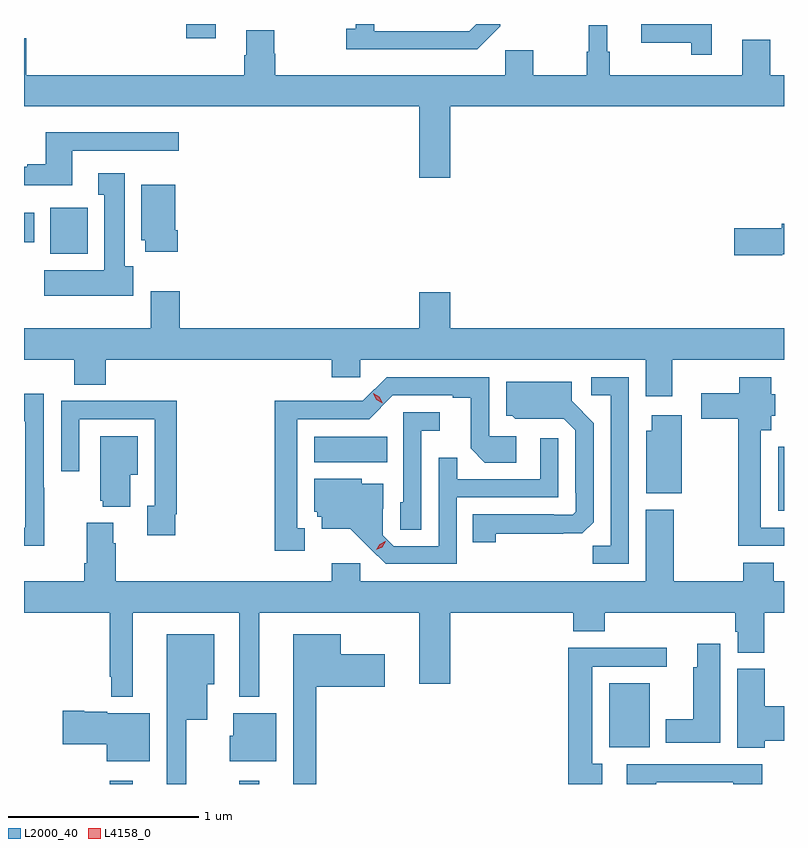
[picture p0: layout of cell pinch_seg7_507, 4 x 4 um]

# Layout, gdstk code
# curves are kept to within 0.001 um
import gdstk
lib = gdstk.Library(unit=1e-6, precision=1e-09)
def R(c, l, rs):  # rectangles x0, y0, x1, y1
    for r in rs: c.add(gdstk.rectangle(r[:2], r[2:], *l))
def P(c, l, *ps):  # polygons
    for p in ps: c.add(gdstk.Polygon(p, *l))
L2000_40 = (2000, 40)
L4158_0 = (4158, 0)

pinch_seg7_507 = lib.new_cell('pinch_seg7_507')
R(pinch_seg7_507, L2000_40, [(127.416,1059.654,127.537,1059.67), (128.097,1059.654,128.203,1059.67), (130.046,1059.848,130.258,1060.183), (130.934,1061.093,130.965,1061.428), (128.492,1061.348,128.876,1061.482), (127.103,1062.446,127.3,1062.688), (126.965,1062.505,127.018,1062.661), (127.819,1063.578,127.975,1063.654)])
P(pinch_seg7_507, L2000_40, [(129.471,1063.641),(129.471,1063.654),(129.346,1063.654),(129.309,1063.617),(128.809,1063.617),(128.809,1063.654),(128.712,1063.654),(128.712,1063.63),(128.661,1063.63),(128.661,1063.52),(129.35,1063.52)],
  [(130.585,1063.654),(130.214,1063.654),(130.214,1063.556),(130.476,1063.556),(130.476,1063.491),(130.585,1063.491)],
  [(129.208,1063.22),(130.965,1063.22),(130.965,1063.384),(130.893,1063.384),(130.893,1063.572),(130.745,1063.572),(130.745,1063.384),(130.048,1063.384),(130.048,1063.508),(130.036,1063.508),(130.036,1063.648),(129.937,1063.648),(129.937,1063.508),(129.927,1063.508),(129.927,1063.384),(129.645,1063.384),(129.645,1063.516),(129.498,1063.516),(129.498,1063.384),(128.288,1063.384),(128.288,1063.497),(128.283,1063.497),(128.283,1063.622),(128.135,1063.622),(128.135,1063.49),(128.123,1063.49),(128.123,1063.384),(126.977,1063.384),(126.977,1063.579),(126.965,1063.579),(126.965,1063.22),(129.044,1063.22),(129.044,1062.846),(129.208,1062.846)],
  [(127.219,1062.987),(127.78,1062.987),(127.78,1063.084),(127.079,1063.084),(127.079,1062.916),(126.983,1062.916),(126.983,1062.903),(126.965,1062.903),(126.965,1062.806),(127.219,1062.806)],
  [(127.54,1062.378),(127.495,1062.378),(127.495,1062.868),(127.355,1062.868),(127.355,1062.755),(127.388,1062.755),(127.388,1062.358),(127.071,1062.358),(127.071,1062.224),(127.54,1062.224)],
  [(127.775,1062.568),(127.762,1062.568),(127.762,1062.808),(127.583,1062.808),(127.583,1062.516),(127.604,1062.516),(127.604,1062.456),(127.775,1062.456)],
  [(130.956,1062.443),(130.965,1062.443),(130.965,1062.604),(130.952,1062.604),(130.952,1062.578),(130.704,1062.578),(130.704,1062.436),(130.956,1062.436)],
  [(130.378,1061.888),(130.965,1061.888),(130.965,1062.052),(129.208,1062.052),(129.208,1062.241),(129.044,1062.241),(129.044,1062.052),(127.784,1062.052),(127.784,1062.247),(127.631,1062.247),(127.631,1062.052),(126.965,1062.052),(126.965,1061.888),(127.229,1061.888),(127.229,1061.755),(127.394,1061.755),(127.394,1061.888),(128.585,1061.888),(128.585,1061.795),(128.736,1061.795),(128.736,1061.888),(130.238,1061.888),(130.238,1061.694),(130.378,1061.694)],
  [(130.149,1061.796),(129.951,1061.796),(129.951,1061.7),(130.053,1061.7),(130.053,1060.907),(129.958,1060.907),(129.958,1060.812),(130.149,1060.812)],
  [(128.443,1061.001),(128.404,1061.001),(128.404,1061.574),(128.781,1061.574),(128.907,1061.7),(129.221,1061.7),(129.221,1061.688),(129.315,1061.688),(129.315,1061.42),(129.391,1061.344),(129.556,1061.344),(129.556,1061.484),(129.414,1061.484),(129.414,1061.796),(128.874,1061.796),(128.748,1061.67),(128.526,1061.67),(128.526,1061.672),(128.286,1061.672),(128.286,1060.881),(128.443,1060.881)],
  [(130.965,1061.004),(130.843,1061.004),(130.843,1061.516),(130.897,1061.516),(130.897,1061.592),(130.918,1061.592),(130.918,1061.706),(130.897,1061.706),(130.897,1061.794),(130.73,1061.794),(130.73,1061.71),(130.53,1061.71),(130.53,1061.576),(130.723,1061.576),(130.723,1060.907),(130.965,1060.907)],
  [(129.447,1060.972),(129.904,1060.973),(129.963,1061.032),(129.963,1061.554),(129.847,1061.67),(129.847,1061.77),(129.503,1061.77),(129.503,1061.592),(129.534,1061.592),(129.55,1061.576),(129.807,1061.577),(129.867,1061.517),(129.867,1061.188),(129.87,1061.188),(129.87,1061.088),(129.852,1061.07),(129.752,1061.07),(129.752,1061.073),(129.328,1061.073),(129.328,1060.926),(129.447,1060.926)],
  [(127.071,1061.213),(127.068,1061.213),(127.068,1061.707),(126.965,1061.707),(126.965,1061.562),(126.972,1061.562),(126.972,1061.004),(126.965,1061.004),(126.965,1060.907),(127.071,1060.907)],
  [(127.762,1061.074),(127.769,1061.074),(127.769,1061.672),(127.477,1061.672),(127.477,1061.67),(127.161,1061.67),(127.161,1061.301),(127.257,1061.301),(127.257,1061.574),(127.653,1061.574),(127.653,1061.118),(127.613,1061.118),(127.613,1060.962),(127.762,1060.962)],
  [(129.057,1061.513),(129.154,1061.513),(129.154,1061.61),(128.961,1061.61),(128.961,1061.136),(128.946,1061.136),(128.946,1060.993),(129.057,1060.993)],
  [(130.426,1061.596),(130.268,1061.596),(130.268,1061.514),(130.241,1061.514),(130.241,1061.183),(130.426,1061.183)],
  [(127.525,1061.282),(127.564,1061.282),(127.564,1061.485),(127.367,1061.485),(127.367,1061.145),(127.379,1061.145),(127.379,1061.114),(127.525,1061.114)],
  [(129.243,1061.163),(129.777,1061.163),(129.777,1061.473),(129.681,1061.473),(129.681,1061.259),(129.245,1061.259),(129.245,1061.372),(129.147,1061.372),(129.147,1060.905),(128.91,1060.905),(128.853,1060.962),(128.853,1061.104),(128.857,1061.104),(128.857,1061.233),(128.742,1061.233),(128.742,1061.26),(128.492,1061.26),(128.492,1061.088),(128.508,1061.088),(128.508,1061.061),(128.531,1061.061),(128.531,1060.997),(128.683,1060.997),(128.87,1060.812),(129.243,1060.812)],
  [(127.537,1060.556),(128.099,1060.556),(128.099,1060.112),(128.203,1060.112),(128.203,1060.556),(129.044,1060.556),(129.044,1060.182),(129.208,1060.182),(129.208,1060.556),(129.857,1060.556),(129.857,1060.457),(130.022,1060.457),(130.022,1060.556),(130.709,1060.556),(130.709,1060.455),(130.721,1060.455),(130.721,1060.345),(130.862,1060.345),(130.862,1060.556),(130.965,1060.556),(130.965,1060.72),(130.91,1060.72),(130.91,1060.819),(130.75,1060.819),(130.75,1060.72),(130.386,1060.72),(130.386,1061.098),(130.238,1061.098),(130.238,1060.72),(128.736,1060.72),(128.736,1060.816),(128.585,1060.816),(128.585,1060.72),(127.448,1060.72),(127.448,1060.922),(127.435,1060.922),(127.435,1061.029),(127.295,1061.029),(127.295,1060.816),(127.283,1060.816),(127.283,1060.72),(126.965,1060.72),(126.965,1060.556),(127.416,1060.556),(127.416,1060.219),(127.423,1060.219),(127.423,1060.112),(127.537,1060.112)],
  [(127.819,1059.992),(127.93,1059.992),(127.93,1060.178),(127.966,1060.178),(127.966,1060.441),(127.715,1060.441),(127.715,1059.654),(127.819,1059.654)],
  [(128.503,1060.166),(128.863,1060.166),(128.863,1060.336),(128.632,1060.336),(128.632,1060.441),(128.381,1060.441),(128.381,1059.654),(128.503,1059.654)],
  [(130.63,1060.393),(130.508,1060.393),(130.508,1060.269),(130.487,1060.269),(130.487,1059.994),(130.343,1059.994),(130.343,1059.872),(130.63,1059.872)],
  [(130.009,1059.76),(129.955,1059.76),(129.955,1060.272),(130.348,1060.272),(130.348,1060.37),(129.83,1060.37),(129.83,1059.654),(130.009,1059.654)],
  [(130.864,1059.881),(130.965,1059.881),(130.965,1060.064),(130.864,1060.064),(130.864,1060.26),(130.718,1060.26),(130.718,1059.844),(130.864,1059.844)],
  [(127.627,1060.027),(127.404,1060.027),(127.404,1060.033),(127.282,1060.033),(127.282,1060.04),(127.17,1060.04),(127.17,1059.862),(127.4,1059.862),(127.4,1059.773),(127.627,1059.773)],
  [(128.293,1060.027),(128.066,1060.027),(128.066,1059.909),(128.048,1059.909),(128.048,1059.773),(128.293,1059.773)],
  [(130.293,1059.663),(130.697,1059.663),(130.697,1059.654),(130.85,1059.654),(130.85,1059.759),(130.137,1059.759),(130.137,1059.654),(130.293,1059.654)])
P(pinch_seg7_507, L4158_0, [(128.819,1060.886),(128.819,1060.886),(128.837,1060.916),(128.867,1060.932),(128.868,1060.932),(128.868,1060.931),(128.85,1060.901),(128.819,1060.886)],
  [(128.852,1061.658),(128.82,1061.677),(128.803,1061.71),(128.803,1061.71),(128.803,1061.71),(128.834,1061.691),(128.852,1061.658),(128.852,1061.658)])

lib.write_gds('pinch_seg7_507.gds')
